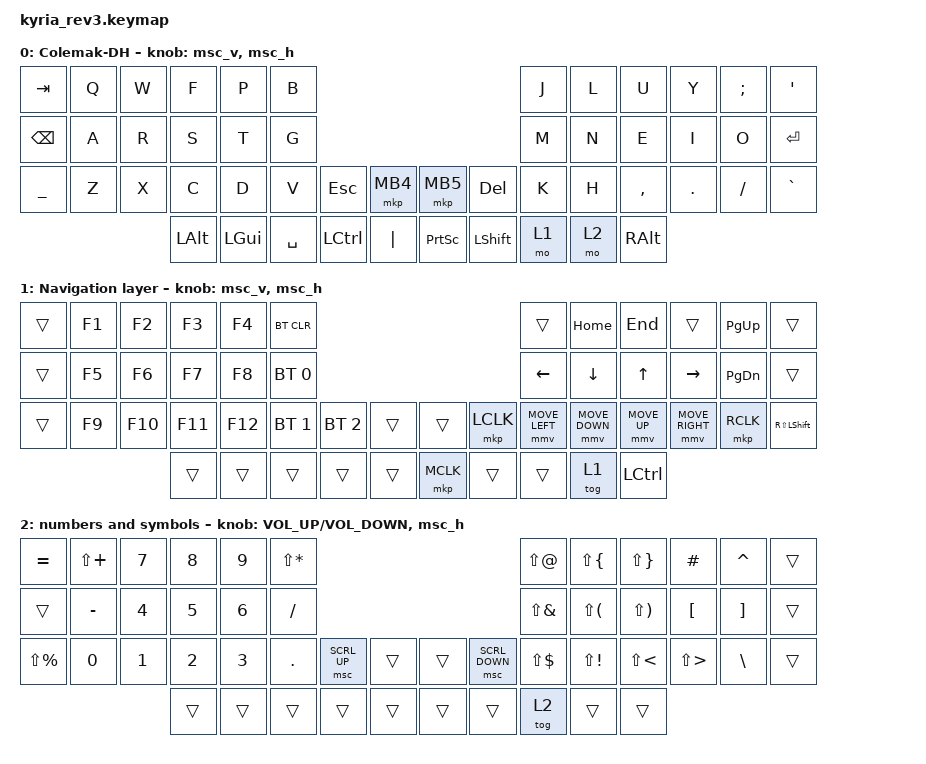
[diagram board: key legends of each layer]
#define ZMK_POINTING_DEFAULT_SCRL_VAL 25
#define ZMK_POINTING_DEFAULT_MOVE_VAL 600

#include <behaviors.dtsi>
#include <dt-bindings/zmk/bt.h>
#include <dt-bindings/zmk/keys.h>
#include <dt-bindings/zmk/pointing.h>

&left_encoder {
    steps = <60>;
};

&right_encoder {
    steps = <60>;
};
/*
&msc {
    time-to-max-speed-ms = <0>;
    acceleration-exponent = <0>;
};
*/

&mmv {
    time-to-max-speed-ms = <0>;
    acceleration-exponent = <0>;
};

&tog { locking; };


/ {
    sensors: sensors {
        compatible = "zmk,keymap-sensors";
        sensors = <&left_encoder &right_encoder>;
        triggers-per-rotation = <20>;
    };

    behaviors {
        msc_v: msc_vertical {
            compatible = "zmk,behavior-sensor-rotate";
            #sensor-binding-cells = <0>;
            bindings = <&msc SCRL_UP>, <&msc SCRL_DOWN>;

            tap-ms = <60>;
        };

        msc_h: msc_horizontal {
            compatible = "zmk,behavior-sensor-rotate";
            #sensor-binding-cells = <0>;
            bindings = <&msc SCRL_LEFT>, <&msc SCRL_RIGHT>;

            tap-ms = <60>;
        };
    };

    keymap {
        compatible = "zmk,keymap";

        colemak_dh {
            display-name = "Colemak-DH";
            bindings = <
&kp TAB         &kp Q  &kp W  &kp F     &kp P     &kp B                                                  &kp J  &kp L  &kp U      &kp Y    &kp SEMI  &kp SQT
&kp BSPC        &kp A  &kp R  &kp S     &kp T     &kp G                                                  &kp M  &kp N  &kp E      &kp I    &kp O     &kp RET
&kp UNDERSCORE  &kp Z  &kp X  &kp C     &kp D     &kp V      &kp ESC    &mkp MB4  &mkp MB5   &kp DEL     &kp K  &kp H  &kp COMMA  &kp DOT  &kp FSLH  &kp GRAVE
                              &kp LALT  &kp LGUI  &kp SPACE  &kp LCTRL  &kp PIPE  &kp PSCRN  &kp LSHIFT  &mo 1  &mo 2  &kp RALT
            >;

            sensor-bindings = <&msc_v &msc_h>;
        };

        Navigation {
            display-name = "Navigation layer";
            bindings = <
&trans  &kp F1  &kp F2   &kp F3   &kp F4   &bt BT_CLR                                                &trans          &kp HOME        &kp END       &trans           &kp PG_UP  &trans
&trans  &kp F5  &kp F6   &kp F7   &kp F8   &bt BT_SEL 0                                              &kp LEFT        &kp DOWN        &kp UP        &kp RIGHT        &kp PG_DN  &trans
&trans  &kp F9  &kp F10  &kp F11  &kp F12  &bt BT_SEL 1  &bt BT_SEL 2  &trans  &trans     &mkp LCLK  &mmv MOVE_LEFT  &mmv MOVE_DOWN  &mmv MOVE_UP  &mmv MOVE_RIGHT  &mkp RCLK  &kp RS(LSHIFT)
                         &trans   &trans   &trans        &trans        &trans  &mkp MCLK  &trans     &trans          &tog 1          &kp LCTRL
            >;

            sensor-bindings = <&msc_v &msc_h>;
        };

        nums_and_symbols {
            display-name = "numbers and symbols";
            bindings = <
&kp EQUAL      &kp LS(PLUS)  &kp N7  &kp N8  &kp N9  &kp LS(STAR)                                  &kp LS(AT)    &kp LS(LBRC)  &kp LS(RBRC)  &kp HASH    &kp CARET  &trans
&trans         &kp MINUS     &kp N4  &kp N5  &kp N6  &kp FSLH                                      &kp LS(AMPS)  &kp LS(LPAR)  &kp LS(RPAR)  &kp LBKT    &kp RBKT   &trans
&kp LS(PRCNT)  &kp N0        &kp N1  &kp N2  &kp N3  &kp DOT       &msc SCRL_UP  &trans  &trans  &msc SCRL_DOWN  &kp LS(DLLR)  &kp LS(EXCL)  &kp LS(LT)    &kp LS(GT)  &kp BSLH   &trans
                                     &trans  &trans  &trans        &trans  &trans  &trans  &trans  &tog 2        &trans        &trans
            >;

            sensor-bindings = <&inc_dec_kp K_VOLUME_UP K_VOLUME_DOWN &msc_h>;
        };
    };
};
